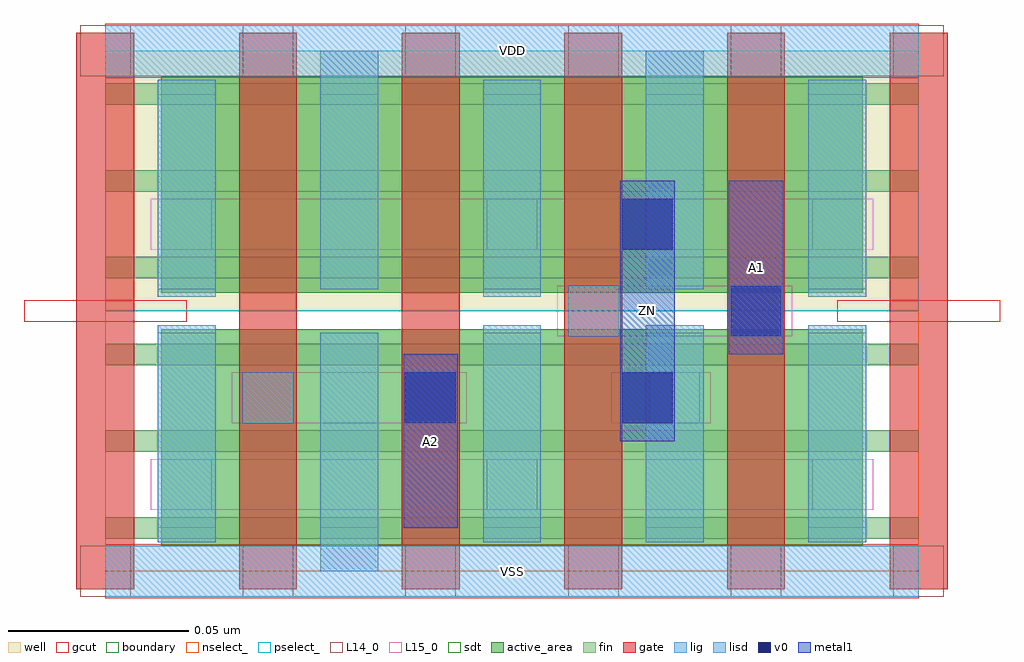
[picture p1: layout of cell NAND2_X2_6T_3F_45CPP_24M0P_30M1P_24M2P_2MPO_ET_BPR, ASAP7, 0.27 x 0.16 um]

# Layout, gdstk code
import gdstk
lib = gdstk.Library(unit=1e-6, precision=2.5e-10)
def R(c, l, rs):  # rectangles x0, y0, x1, y1
    for r in rs: c.add(gdstk.rectangle(r[:2], r[2:], *l))
def A(c, l, x, y, w, h, nx, ny, dx, dy):  # array of equal rectangles
    R(c, l, [(x+i*dx, y+j*dy, x+i*dx+w, y+j*dy+h) for i in range(nx) for j in range(ny)])
well = (1, 0)
fin = (2, 0)
gate = (7, 0)
gcut = (10, 0)
active_area = (11, 0)
nselect_ = (12, 0)
pselect_ = (13, 0)
L14_0 = (14, 0)
L15_0 = (15, 0)
lig = (16, 0)
lisd = (17, 0)
v0 = (18, 0)
metal1 = (19, 0)
sdt = (88, 0)
boundary = (100, 0)

nand2_x2_6t_3f_45cpp_24m = lib.new_cell('NAND2_X2_6T_3F_45CPP_24M0P_30M1P_24M2P_2MPO_ET_BPR')
R(nand2_x2_6t_3f_45cpp_24m, well, [(0,0.072,0.225,0.144)])
A(nand2_x2_6t_3f_45cpp_24m, fin, 0, 0.009, 0.225, 0.006, 1, 6, 0, 0.024)
A(nand2_x2_6t_3f_45cpp_24m, gate, -0.008, -0.005, 0.016, 0.154, 6, 1, 0.045, 0)
R(nand2_x2_6t_3f_45cpp_24m, gcut, [(0,-0.0075,0.225,0.0075), (-0.0225,0.069,0.0225,0.075), (0.2025,0.069,0.2475,0.075), (0,0.1365,0.225,0.1515)])
R(nand2_x2_6t_3f_45cpp_24m, active_area, [(0.0155,0.007,0.1195,0.067), (0.1055,0.007,0.2095,0.067), (0.0155,0.077,0.1195,0.137), (0.1055,0.077,0.2095,0.137)])
R(nand2_x2_6t_3f_45cpp_24m, nselect_, [(0,0,0.225,0.072)])
R(nand2_x2_6t_3f_45cpp_24m, pselect_, [(0,0.072,0.225,0.144)])
A(nand2_x2_6t_3f_45cpp_24m, L14_0, -0.007, -0.007, 0.014, 0.014, 6, 2, 0.045, 0.144)
A(nand2_x2_6t_3f_45cpp_24m, L14_0, 0.0155, 0.017, 0.014, 0.014, 3, 2, 0.09, 0.072)
R(nand2_x2_6t_3f_45cpp_24m, L14_0, [(0.038,0.041,0.052,0.055), (0.083,0.041,0.097,0.055), (0.1505,0.041,0.1645,0.055), (0.128,0.065,0.142,0.079), (0.173,0.065,0.187,0.079)])
R(nand2_x2_6t_3f_45cpp_24m, L15_0, [(0,-0.007,0.225,0.007), (0.0125,0.017,0.2125,0.031), (0.035,0.041,0.1,0.055), (0.14,0.041,0.1675,0.055), (0.125,0.065,0.19,0.079), (0.0125,0.089,0.2125,0.103), (0,0.137,0.225,0.151)])
R(nand2_x2_6t_3f_45cpp_24m, lig, [(0,-0.007,0.225,0.007), (0.038,0.041,0.052,0.055), (0.083,0.041,0.097,0.055), (0.128,0.065,0.142,0.079), (0.173,0.065,0.187,0.079), (0,0.137,0.225,0.151)])
A(nand2_x2_6t_3f_45cpp_24m, lisd, 0.1045, 0.008, 0.016, 0.06, 3, 1, 0.045, 0)
A(nand2_x2_6t_3f_45cpp_24m, lisd, 0.0145, 0.076, 0.016, 0.06, 3, 1, 0.09, 0)
R(nand2_x2_6t_3f_45cpp_24m, lisd, [(0.0595,0,0.0755,0.066), (0.0145,0.008,0.0305,0.068), (0.0595,0.078,0.0755,0.144), (0.1495,0.078,0.1655,0.144)])
R(nand2_x2_6t_3f_45cpp_24m, v0, [(0.083,0.041,0.097,0.055), (0.143,0.041,0.157,0.055), (0.173,0.065,0.187,0.079), (0.143,0.089,0.157,0.103)])
R(nand2_x2_6t_3f_45cpp_24m, metal1, [(0.0825,0.012,0.0975,0.06), (0.1425,0.036,0.1575,0.108), (0.1725,0.06,0.1875,0.108)])
A(nand2_x2_6t_3f_45cpp_24m, sdt, 0.0145, 0.012, 0.016, 0.054, 5, 2, 0.045, 0.066)
R(nand2_x2_6t_3f_45cpp_24m, boundary, [(0,0,0.225,0.144)])
nand2_x2_6t_3f_45cpp_24m.add(gdstk.Label('A2', (0.09,0.036), layer=19, texttype=251))
nand2_x2_6t_3f_45cpp_24m.add(gdstk.Label('A1', (0.18,0.084), layer=19, texttype=251))
nand2_x2_6t_3f_45cpp_24m.add(gdstk.Label('ZN', (0.15,0.072), layer=19, texttype=251))
nand2_x2_6t_3f_45cpp_24m.add(gdstk.Label('VDD', (0.1125,0.144), layer=15, texttype=251))
nand2_x2_6t_3f_45cpp_24m.add(gdstk.Label('VSS', (0.1125,0), layer=15, texttype=251))
nand2_x2_6t_3f_45cpp_24m.add(gdstk.Label('VDD', (0.1125,0.144), layer=1, texttype=251))
nand2_x2_6t_3f_45cpp_24m.add(gdstk.Label('VSS', (0.1125,0), layer=3, texttype=251))

lib.write_gds('NAND2_X2_6T_3F_45CPP_24M0P_30M1P_24M2P_2MPO_ET_BPR.gds')
